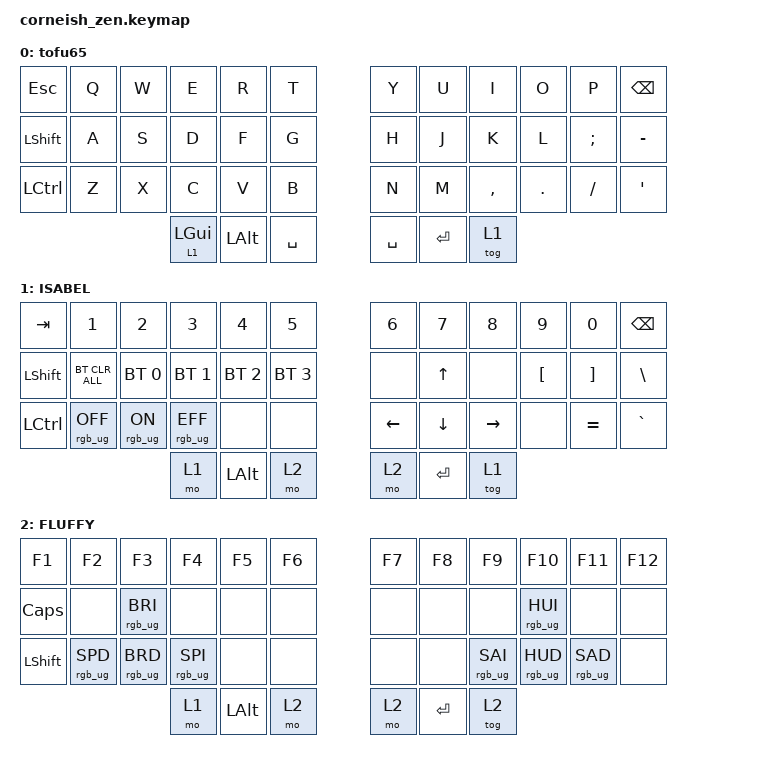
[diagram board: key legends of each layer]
/*
 * Copyright (c) 2020 The ZMK Contributors
 *
 * SPDX-License-Identifier: MIT
 */

#include <behaviors.dtsi>
#include <dt-bindings/zmk/bt.h>
#include <dt-bindings/zmk/keys.h>
#include <dt-bindings/zmk/rgb.h>

/ {
    chosen {
        zmk,matrix_transform = &default_transform;

        // zmk,matrix_transform = &five_column_transform;
    };
};

/ {
    behaviors {
        td0: td0 {
            compatible = "zmk,behavior-tap-dance";
            label = "TD0";
            #binding-cells = <0>;
            bindings = <&kp LEFT_SHIFT>, <&kp CAPS>;
        };
    };

    keymap {
        compatible = "zmk,keymap";

        default_layer {
            display-name = "tofu65";

            // --------------------------------------------------------------------------------
            // |  TAB |  Q  |  W  |  E  |  R  |  T  |   |  Y  |  U   |  I  |  O  |  P  | BKSP |
            // | CTRL |  A  |  S  |  D  |  F  |  G  |   |  H  |  J   |  K  |  L  |  ;  |  '   | 
            // | SHFT |  Z  |  X  |  C  |  V  |  B  |   |  N  |  M   |  ,  |  .  |  /  | ESC  |
            //                    | GUI | LWR | SPC |   | ENT | RSE  | ALT |

            bindings = <
&kp ESC         &kp Q  &kp W  &kp E           &kp R         &kp T        &kp Y      &kp U      &kp I      &kp O    &kp P     &kp BSPC
&kp LEFT_SHIFT  &kp A  &kp S  &kp D           &kp F         &kp G        &kp H      &kp J      &kp K      &kp L    &kp SEMI  &kp MINUS
&kp LCTRL       &kp Z  &kp X  &kp C           &kp V         &kp B        &kp N      &kp M      &kp COMMA  &kp DOT  &kp FSLH  &kp SQT
                              &lt 1 LEFT_GUI  &kp LEFT_ALT  &kp SPACE    &kp SPACE  &kp ENTER  &tog 1
            >;
        };

        lower_layer {
            display-name = "ISABEL";

            // -----------------------------------------------------------------------------------------
            // |  TAB |  1  |  2  |  3  |  4  |  5  |   |  6  |  7  |  8  |  9  |  0  | BKSP |
            // | BTCLR| BT1 | BT2 | BT3 | BT4 | BT5 |   | LFT | DWN |  UP | RGT |     |      |
            // | SHFT |     |     |     |     |     |   |     |     |     |     |     |      |
            //                    | GUI |     | SPC |   | ENT |     | ALT |

            bindings = <
&kp TAB         &kp N1           &kp N2          &kp N3           &kp N4        &kp N5          &kp N6          &kp N7          &kp N8           &kp N9            &kp N0             &kp BSPC
&kp LEFT_SHIFT  &bt BT_CLR_ALL   &bt BT_SEL 0    &bt BT_SEL 1     &bt BT_SEL 2  &bt BT_SEL 3    &none           &kp UP_ARROW    &none            &kp LEFT_BRACKET  &kp RIGHT_BRACKET  &kp BACKSLASH
&kp LCTRL       &rgb_ug RGB_OFF  &rgb_ug RGB_ON  &rgb_ug RGB_EFF  &none         &none           &kp LEFT_ARROW  &kp DOWN_ARROW  &kp RIGHT_ARROW  &none             &kp EQUAL          &kp GRAVE
                                                 &mo 1            &kp LALT      &mo 2           &mo 2           &kp ENTER       &tog 1
            >;
        };

        raise_layer {
            display-name = "FLUFFY";

            // -----------------------------------------------------------------------------------------
            // |  TAB |  !  |  @  |  #  |  $  |  %  |   |  ^  |  &  |  *  |  (  |  )  | BKSP |
            // | CTRL |     |     |     |     |     |   |  -  |  =  |  [  |  ]  |  \  |  `   |
            // | SHFT |     |     |     |     |     |   |  _  |  +  |  {  |  }  | "|" |  ~   |
            //                    | GUI |     | SPC |   | ENT |     | ALT |

            bindings = <
&kp F1          &kp F2           &kp F3           &kp F4           &kp F5        &kp F6    &kp F7  &kp F8     &kp F9           &kp F10          &kp F11          &kp F12
&kp CAPS        &none            &rgb_ug RGB_BRI  &none            &none         &none     &none   &none      &none            &rgb_ug RGB_HUI  &none            &none
&kp LEFT_SHIFT  &rgb_ug RGB_SPD  &rgb_ug RGB_BRD  &rgb_ug RGB_SPI  &none         &none     &none   &none      &rgb_ug RGB_SAI  &rgb_ug RGB_HUD  &rgb_ug RGB_SAD  &none
                                                  &mo 1            &kp LEFT_ALT  &mo 2     &mo 2   &kp ENTER  &tog 2
            >;
        };
    };
};
